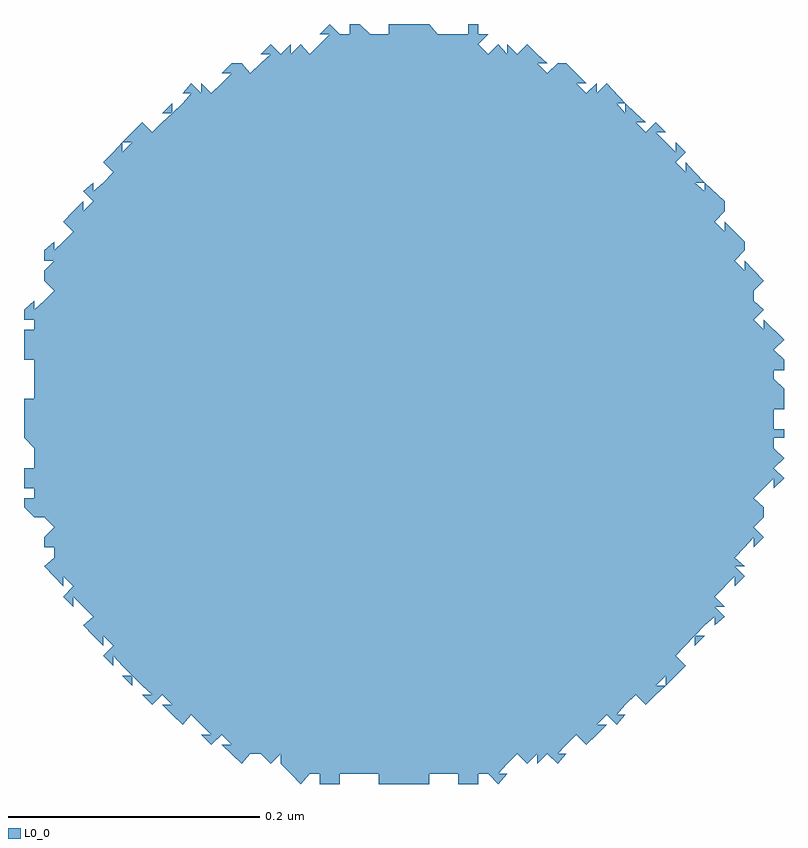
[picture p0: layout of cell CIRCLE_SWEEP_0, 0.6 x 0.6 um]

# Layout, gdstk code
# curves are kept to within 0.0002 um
import gdstk
lib = gdstk.Library(unit=1e-6, precision=1e-09)
def P(c, l, *ps):  # polygons
    for p in ps: c.add(gdstk.Polygon(p, *l))
L0_0 = (0, 0)

circle_sweep_0 = lib.new_cell('CIRCLE_SWEEP_0')
P(circle_sweep_0, L0_0, [(-0.051,-0.294),(-0.02,-0.294),(-0.02,-0.302),(0.02,-0.302),(0.02,-0.294),(0.043,-0.294),(0.043,-0.302),(0.059,-0.302),(0.059,-0.294),(0.067,-0.294),(0.075,-0.302),(0.082,-0.294),(0.075,-0.294),(0.082,-0.286),(-0.098,-0.286),(-0.082,-0.302),(-0.075,-0.294),(-0.067,-0.294),(-0.067,-0.302),(-0.051,-0.302)],
  [(0.09,-0.278),(0.098,-0.286),(0.106,-0.278),(0.106,-0.286),(0.114,-0.278),(0.122,-0.286),(0.129,-0.278),(0.122,-0.278),(0.137,-0.263),(0.145,-0.271),(0.161,-0.255),(-0.161,-0.255),(-0.153,-0.263),(-0.161,-0.263),(-0.153,-0.271),(-0.145,-0.263),(-0.137,-0.271),(-0.145,-0.271),(-0.129,-0.286),(-0.122,-0.278),(-0.114,-0.278),(-0.106,-0.286),(-0.098,-0.278),(-0.098,-0.286),(0.082,-0.286)],
  [(0.161,-0.247),(0.169,-0.255),(0.176,-0.247),(0.169,-0.247),(0.176,-0.239),(0.184,-0.231),(0.192,-0.239),(0.2,-0.231),(0.208,-0.224),(-0.208,-0.224),(-0.2,-0.231),(-0.208,-0.231),(-0.2,-0.239),(-0.192,-0.231),(-0.184,-0.239),(-0.192,-0.239),(-0.176,-0.255),(-0.169,-0.247),(-0.161,-0.255),(0.153,-0.255)],
  [(0.208,-0.216),(0.208,-0.224),(0.224,-0.208),(0.216,-0.2),(0.231,-0.184),(0.231,-0.192),(0.239,-0.184),(0.231,-0.184),(0.239,-0.176),(-0.255,-0.176),(-0.239,-0.192),(-0.239,-0.184),(-0.231,-0.192),(-0.239,-0.2),(-0.231,-0.208),(-0.231,-0.2),(-0.224,-0.208),(-0.216,-0.216),(-0.224,-0.216),(-0.216,-0.224),(-0.216,-0.216),(-0.208,-0.224),(0.2,-0.224)],
  [(0.247,-0.169),(0.247,-0.176),(0.255,-0.169),(0.247,-0.161),(0.255,-0.161),(0.247,-0.153),(0.263,-0.137),(0.263,-0.145),(0.271,-0.137),(0.263,-0.129),(0.271,-0.129),(0.263,-0.122),(-0.278,-0.122),(-0.286,-0.129),(-0.271,-0.145),(-0.271,-0.137),(-0.263,-0.145),(-0.271,-0.153),(-0.263,-0.161),(-0.263,-0.153),(-0.247,-0.169),(-0.255,-0.176),(0.239,-0.176)],
  [(0.271,-0.114),(0.278,-0.106),(0.278,-0.114),(0.286,-0.106),(0.278,-0.098),(0.286,-0.09),(0.286,-0.082),(0.278,-0.075),(0.286,-0.067),(-0.294,-0.067),(-0.294,-0.075),(-0.302,-0.075),(-0.302,-0.082),(-0.294,-0.09),(-0.286,-0.09),(-0.278,-0.098),(-0.286,-0.106),(-0.286,-0.114),(-0.278,-0.114),(-0.278,-0.122),(0.263,-0.122)],
  [(0.294,-0.059),(0.294,-0.067),(0.302,-0.059),(0.294,-0.051),(0.302,-0.043),(0.294,-0.035),(0.294,-0.027),(0.302,-0.027),(0.302,-0.02),(0.294,-0.02),(0.294,-0.004),(0.302,-0.004),(0.302,0.004),(-0.302,0.004),(-0.302,-0.027),(-0.294,-0.035),(-0.294,-0.051),(-0.302,-0.051),(-0.302,-0.067),(0.286,-0.067)],
  [(0.302,0.012),(0.294,0.02),(0.294,0.027),(0.302,0.027),(0.302,0.035),(0.294,0.043),(0.302,0.051),(0.286,0.067),(0.286,0.059),(0.278,0.067),(0.286,0.075),(-0.302,0.075),(-0.302,0.067),(-0.294,0.067),(-0.294,0.059),(-0.302,0.059),(-0.302,0.035),(-0.294,0.035),(-0.294,0.004),(0.302,0.004)],
  [(0.278,0.082),(0.278,0.09),(0.286,0.098),(0.271,0.114),(0.271,0.106),(0.263,0.114),(0.271,0.122),(0.271,0.129),(-0.271,0.129),(-0.278,0.122),(-0.278,0.129),(-0.286,0.122),(-0.286,0.114),(-0.278,0.114),(-0.286,0.106),(-0.286,0.098),(-0.278,0.09),(-0.286,0.082),(-0.294,0.075),(-0.294,0.082),(-0.302,0.075),(0.286,0.075)],
  [(0.263,0.137),(0.255,0.145),(0.255,0.137),(0.247,0.145),(0.255,0.153),(0.255,0.161),(0.239,0.176),(0.239,0.169),(0.231,0.176),(-0.239,0.176),(-0.247,0.169),(-0.247,0.176),(-0.255,0.169),(-0.247,0.161),(-0.255,0.153),(-0.255,0.161),(-0.271,0.145),(-0.263,0.137),(-0.271,0.129),(0.271,0.129)],
  [(0.231,0.184),(0.224,0.192),(0.224,0.184),(0.216,0.192),(0.224,0.2),(0.216,0.208),(0.216,0.2),(0.2,0.216),(0.208,0.216),(0.2,0.224),(0.192,0.216),(0.184,0.224),(-0.192,0.224),(-0.2,0.216),(-0.208,0.224),(-0.224,0.208),(-0.216,0.208),(-0.224,0.2),(-0.224,0.208),(-0.231,0.2),(-0.239,0.192),(-0.231,0.184),(-0.239,0.176),(0.239,0.176)],
  [(0.184,0.231),(0.176,0.239),(0.176,0.231),(0.169,0.239),(0.176,0.239),(0.161,0.255),(0.153,0.247),(0.153,0.255),(0.145,0.247),(0.137,0.255),(-0.145,0.255),(-0.153,0.247),(-0.161,0.255),(-0.161,0.247),(-0.169,0.255),(-0.176,0.247),(-0.169,0.247),(-0.176,0.239),(-0.184,0.231),(-0.184,0.239),(-0.192,0.231),(-0.184,0.231),(-0.192,0.224),(0.192,0.224)],
  [(0.137,0.263),(0.129,0.271),(0.122,0.271),(0.114,0.263),(0.106,0.271),(0.114,0.271),(0.106,0.278),(-0.106,0.278),(-0.114,0.271),(-0.122,0.263),(-0.129,0.271),(-0.137,0.271),(-0.145,0.263),(-0.137,0.263),(-0.145,0.255),(0.145,0.255)],
  [(0.098,0.286),(0.09,0.278),(0.082,0.286),(0.082,0.278),(0.075,0.286),(0.067,0.278),(0.059,0.286),(0.067,0.294),(0.059,0.294),(0.059,0.302),(0.051,0.302),(0.051,0.294),(0.027,0.294),(0.02,0.302),(-0.012,0.302),(-0.012,0.294),(-0.027,0.294),(-0.035,0.302),(-0.043,0.302),(-0.043,0.294),(-0.051,0.294),(-0.059,0.302),(-0.067,0.294),(-0.059,0.294),(-0.075,0.278),(-0.082,0.286),(-0.09,0.278),(-0.09,0.286),(-0.098,0.278),(-0.106,0.286),(-0.114,0.278),(0.106,0.278)])

lib.write_gds('CIRCLE_SWEEP_0.gds')
